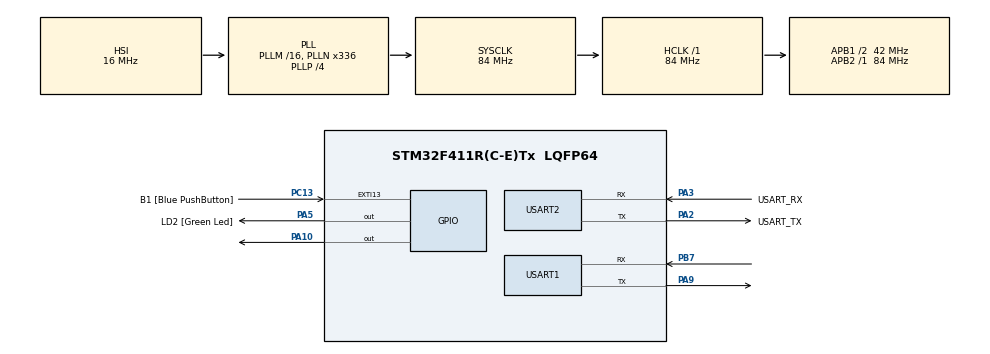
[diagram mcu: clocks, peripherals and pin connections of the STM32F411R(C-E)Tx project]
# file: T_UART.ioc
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Mcu.Family=STM32F4
Mcu.Name=STM32F411R(C-E)Tx
Mcu.Package=LQFP64
NVIC.EXTI15_10_IRQn=true\:0\:0\:false\:false\:true\:true\:true\:true
NVIC.PriorityGroup=NVIC_PRIORITYGROUP_0
NVIC.USART1_IRQn=true\:0\:0\:false\:false\:true\:true\:true\:true
NVIC.USART2_IRQn=true\:0\:0\:false\:false\:true\:true\:true\:true
PA10.GPIO_PuPd=GPIO_NOPULL
PA10.Signal=GPIO_Output
PA13.GPIO_Label=TMS
PA13.Mode=Serial_Wire
PA13.Signal=SYS_JTMS-SWDIO
PA14.GPIO_Label=TCK
PA14.Mode=Serial_Wire
PA14.Signal=SYS_JTCK-SWCLK
PA2.GPIO_Label=USART_TX
PA2.Mode=Asynchronous
PA2.Signal=USART2_TX
PA3.GPIO_Label=USART_RX
PA3.Mode=Asynchronous
PA3.Signal=USART2_RX
PA5.GPIO_Label=LD2 [Green Led]
PA5.Signal=GPIO_Output
PA9.Mode=Asynchronous
PA9.Signal=USART1_TX
PB3.GPIO_Label=SWO
PB3.Signal=SYS_JTDO-SWO
PB7.Mode=Asynchronous
PB7.Signal=USART1_RX
PC13-ANTI_TAMP.GPIO_Label=B1 [Blue PushButton]
PC13-ANTI_TAMP.GPIO_ModeDefaultEXTI=GPIO_MODE_IT_FALLING
PC13-ANTI_TAMP.GPIO_PuPd=GPIO_NOPULL
PC13-ANTI_TAMP.Signal=GPXTI13
PC14-OSC32_IN.Mode=LSE-External-Oscillator
PC14-OSC32_IN.Signal=RCC_OSC32_IN
PC15-OSC32_OUT.Mode=LSE-External-Oscillator
PC15-OSC32_OUT.Signal=RCC_OSC32_OUT
PH0\ -\ OSC_IN.Mode=HSE-External-Clock-Source
PH0\ -\ OSC_IN.Signal=RCC_OSC_IN
PH1\ -\ OSC_OUT.Mode=HSE-External-Clock-Source
PH1\ -\ OSC_OUT.Signal=RCC_OSC_OUT
ProjectManager.HeapSize=0x200
ProjectManager.StackSize=0x400
ProjectManager.TargetToolchain=STM32CubeIDE
RCC.48MHZClocksFreq_Value=84000000
RCC.AHBFreq_Value=84000000
RCC.APB1CLKDivider=RCC_HCLK_DIV2
RCC.APB1Freq_Value=42000000
RCC.APB1TimFreq_Value=84000000
RCC.APB2Freq_Value=84000000
RCC.APB2TimFreq_Value=84000000
RCC.CortexFreq_Value=84000000
RCC.FLatency-AdvancedSettings=FLASH_LATENCY_2
RCC.HCLKFreq_Value=84000000
RCC.HSE_VALUE=8000000
RCC.HSI_VALUE=16000000
RCC.PLLN=336
RCC.PLLP=RCC_PLLP_DIV4
RCC.SYSCLKFreq_VALUE=84000000
RCC.SYSCLKSource=RCC_SYSCLKSOURCE_PLLCLK
RCC.VCOOutputFreq_Value=336000000
USART1.VirtualMode=VM_ASYNC
USART2.VirtualMode=VM_ASYNC
board=NUCLEO-F411RE

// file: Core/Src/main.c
/* USER CODE BEGIN Header */
/**
  ******************************************************************************
  * @file           : main.c
  * @brief          : Main program body
  ******************************************************************************
  * @attention
  *
  * Copyright (c) 2026 STMicroelectronics.
  * All rights reserved.
  *
  * This software is licensed under terms that can be found in the LICENSE file
  * in the root directory of this software component.
  * If no LICENSE file comes with this software, it is provided AS-IS.
  *
  ******************************************************************************
  */
/* USER CODE END Header */
#include "main.h"

UART_HandleTypeDef huart1;
UART_HandleTypeDef huart2;

void SystemClock_Config(void);
static void MX_GPIO_Init(void);
static void MX_USART2_UART_Init(void);
static void MX_USART1_UART_Init(void);

/* USER CODE BEGIN 0 */
#define MAX_SIZE 100

uint8_t pc_data = 0;
uint8_t pc_index = 0;
char pc_buffer[MAX_SIZE] = {0};

uint8_t board_data = 0;
uint8_t board_index = 0;
char board_buffer[MAX_SIZE] = {0};

uint8_t id_mode = 0;
char id_buffer[20] = {0};
/* USER CODE END 0 */

int main(void)
{

  /* MCU Configuration--------------------------------------------------------*/

  /* Reset of all peripherals, Initializes the Flash interface and the Systick. */
  HAL_Init();

  /* Configure the system clock */
  SystemClock_Config();

  /* Initialize all configured peripherals */
  MX_GPIO_Init();
  MX_USART2_UART_Init();
  MX_USART1_UART_Init();
  /* USER CODE BEGIN 2 */
  HAL_UART_Receive_IT(&huart2, &pc_buffer, 1);
  HAL_UART_Receive_IT(&huart1, &board_buffer, 1);
  /* USER CODE END 2 */

  /* Infinite loop */
  while (1)
  {

  }
}

void SystemClock_Config(void)
{
  RCC_OscInitTypeDef RCC_OscInitStruct = {0};
  RCC_ClkInitTypeDef RCC_ClkInitStruct = {0};

  /** Configure the main internal regulator output voltage
  */
  __HAL_RCC_PWR_CLK_ENABLE();
  __HAL_PWR_VOLTAGESCALING_CONFIG(PWR_REGULATOR_VOLTAGE_SCALE1);

  /** Initializes the RCC Oscillators according to the specified parameters
  * in the RCC_OscInitTypeDef structure.
  */
  RCC_OscInitStruct.OscillatorType = RCC_OSCILLATORTYPE_HSI;
  RCC_OscInitStruct.HSIState = RCC_HSI_ON;
  RCC_OscInitStruct.HSICalibrationValue = RCC_HSICALIBRATION_DEFAULT;
  RCC_OscInitStruct.PLL.PLLState = RCC_PLL_ON;
  RCC_OscInitStruct.PLL.PLLSource = RCC_PLLSOURCE_HSI;
  RCC_OscInitStruct.PLL.PLLM = 16;
  RCC_OscInitStruct.PLL.PLLN = 336;
  RCC_OscInitStruct.PLL.PLLP = RCC_PLLP_DIV4;
  RCC_OscInitStruct.PLL.PLLQ = 4;
  if (HAL_RCC_OscConfig(&RCC_OscInitStruct) != HAL_OK)
  {
    Error_Handler();
  }

  /** Initializes the CPU, AHB and APB buses clocks
  */
  RCC_ClkInitStruct.ClockType = RCC_CLOCKTYPE_HCLK|RCC_CLOCKTYPE_SYSCLK
                              |RCC_CLOCKTYPE_PCLK1|RCC_CLOCKTYPE_PCLK2;
  RCC_ClkInitStruct.SYSCLKSource = RCC_SYSCLKSOURCE_PLLCLK;
  RCC_ClkInitStruct.AHBCLKDivider = RCC_SYSCLK_DIV1;
  RCC_ClkInitStruct.APB1CLKDivider = RCC_HCLK_DIV2;
  RCC_ClkInitStruct.APB2CLKDivider = RCC_HCLK_DIV1;

  if (HAL_RCC_ClockConfig(&RCC_ClkInitStruct, FLASH_LATENCY_2) != HAL_OK)
  {
    Error_Handler();
  }
}

static void MX_USART1_UART_Init(void)
{

  huart1.Instance = USART1;
  huart1.Init.BaudRate = 115200;
  huart1.Init.WordLength = UART_WORDLENGTH_8B;
  huart1.Init.StopBits = UART_STOPBITS_1;
  huart1.Init.Parity = UART_PARITY_NONE;
  huart1.Init.Mode = UART_MODE_TX_RX;
  huart1.Init.HwFlowCtl = UART_HWCONTROL_NONE;
  huart1.Init.OverSampling = UART_OVERSAMPLING_16;
  if (HAL_UART_Init(&huart1) != HAL_OK)
  {
    Error_Handler();
  }

}

static void MX_USART2_UART_Init(void)
{

  huart2.Instance = USART2;
  huart2.Init.BaudRate = 115200;
  huart2.Init.WordLength = UART_WORDLENGTH_8B;
  huart2.Init.StopBits = UART_STOPBITS_1;
  huart2.Init.Parity = UART_PARITY_NONE;
  huart2.Init.Mode = UART_MODE_TX_RX;
  huart2.Init.HwFlowCtl = UART_HWCONTROL_NONE;
  huart2.Init.OverSampling = UART_OVERSAMPLING_16;
  if (HAL_UART_Init(&huart2) != HAL_OK)
  {
    Error_Handler();
  }

}

static void MX_GPIO_Init(void)
{
  GPIO_InitTypeDef GPIO_InitStruct = {0};

  /* GPIO Ports Clock Enable */
  __HAL_RCC_GPIOC_CLK_ENABLE();
  __HAL_RCC_GPIOH_CLK_ENABLE();
  __HAL_RCC_GPIOA_CLK_ENABLE();
  __HAL_RCC_GPIOB_CLK_ENABLE();

  /*Configure GPIO pin Output Level */
  HAL_GPIO_WritePin(GPIOA, LD2_Pin|GPIO_PIN_10, GPIO_PIN_RESET);

  /*Configure GPIO pin : B1_Pin */
  GPIO_InitStruct.Pin = B1_Pin;
  GPIO_InitStruct.Mode = GPIO_MODE_IT_FALLING;
  GPIO_InitStruct.Pull = GPIO_NOPULL;
  HAL_GPIO_Init(B1_GPIO_Port, &GPIO_InitStruct);

  /*Configure GPIO pins : LD2_Pin PA10 */
  GPIO_InitStruct.Pin = LD2_Pin|GPIO_PIN_10;
  GPIO_InitStruct.Mode = GPIO_MODE_OUTPUT_PP;
  GPIO_InitStruct.Pull = GPIO_NOPULL;
  GPIO_InitStruct.Speed = GPIO_SPEED_FREQ_LOW;
  HAL_GPIO_Init(GPIOA, &GPIO_InitStruct);

  /* EXTI interrupt init*/
  HAL_NVIC_SetPriority(EXTI15_10_IRQn, 0, 0);
  HAL_NVIC_EnableIRQ(EXTI15_10_IRQn);

}

/* USER CODE BEGIN 4 */
void HAL_UART_RxCplitCallback(UART_HandleTypeDef* huart){
	if(huart->Instance == USART2){
		if (pc_data == '\t' || pc_data == '0x09'){
			id_mode = 1;
			pc_index = 0;

			char msg[] = "\r\nInput ID: \r\n";
			HAL_UART_Transmit(&huart2, (uint8_t*)msg, strlen(msg), 100);
		}
		else if(pc_data == '\r' || pc_data == '\n'){
			if(pc_index > 0){
				pc_buffer[pc_index] = '\0';

				if(id_mode == 1){
					strcpy(id_buffer, pc_buffer);
					id_mode = 0;

					char log_msg[];
					sprintf(log_msg, "\r\n[system] ID - > %s", id_buffer);
					HAL_UART_Transmit(&hurat2, (uint8_t*)log_msg, strlen(log_msg), 100);

				}
				pc_index = 0;
			}

		}

		else{
			pc_buffer[pc_index] = pc_data;
			pc_index++;
			HAL_UART_Transmit(&huart2, &pc_buffer, pc_index, 100);
		}
		HAL_UART_Transmit(&huart2, &pc_buffer, pc_index, 100);
		HAL_UART_Transmit(&huart1, &pc_buffer, pc_index, 100);
		HAL_UART_Receive_IT(&huart2, &pc_buffer, 1);
	}

	if(huart->Instance == USART1){
		HAL_UART_Transmit(&huart2, &board_buffer, board_index, 100);
		HAL_UART_Receive_IT(&huart1, &board_buffer, 1);

	}
}
/* USER CODE END 4 */

void Error_Handler(void)
{
  __disable_irq();
  while (1)
  {
  }
}
